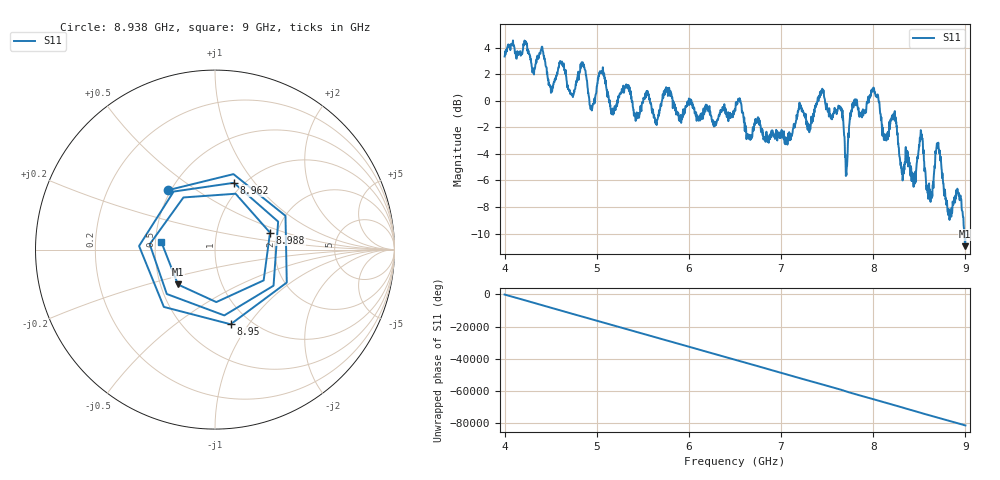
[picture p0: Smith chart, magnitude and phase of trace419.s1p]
! Created with skrf 1.8.0 (http://scikit-rf.org).
# Hz S RI R 50.0
!freq ReS11 ImS11
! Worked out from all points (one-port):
!   1601 points, 4 GHz to 9 GHz, reference 50 ohm
!   lowest |S11| = -10.9 dB at 8.997 GHz (marker M1), VSWR 1.79, Z = 30.8 - j13 ohm
!   |S11| at or under -10 dB: 8.991465 GHz to end of sweep
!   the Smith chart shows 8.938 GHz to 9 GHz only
!   S11 on the Smith chart (normalised r, x): 8.938 GHz: 0.48, +0.39; 8.95 GHz: 0.81, -0.83; 8.962 GHz: 0.91, +0.79; 8.988 GHz: 1.83, +0.39; 9 GHz: 0.54, +0.05
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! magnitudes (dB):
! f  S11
! 4 GHz  3.3
! 4.503 GHz  0.6
! 4.625 GHz  2.7
! 4.731 GHz  0.5
! 4.85 GHz  2.9
! 4.947 GHz  -0.7
! 5.047 GHz  2.2
! 5.25 GHz  0.5
! 5.875 GHz  -0.8
! 6.5 GHz  -0.6
! 7.125 GHz  -2.4
! 7.438 GHz  0.7
! 7.647 GHz  -0.6
! 7.709 GHz  -5.6
! 7.75 GHz  -1.3
! 8.003 GHz  1.0
! 8.375 GHz  -4.0
! 8.441 GHz  -5.8
! 8.522 GHz  -2.8
! 8.616 GHz  -6.9
! 8.7 GHz  -3.4
! 8.822 GHz  -8.3
! 8.938 GHz  -7.5
! 8.95 GHz  -7.4
! 8.962 GHz  -8.3
! 8.988 GHz  -9.9
! 8.997 GHz  -10.9
! 9 GHz  -10.4
